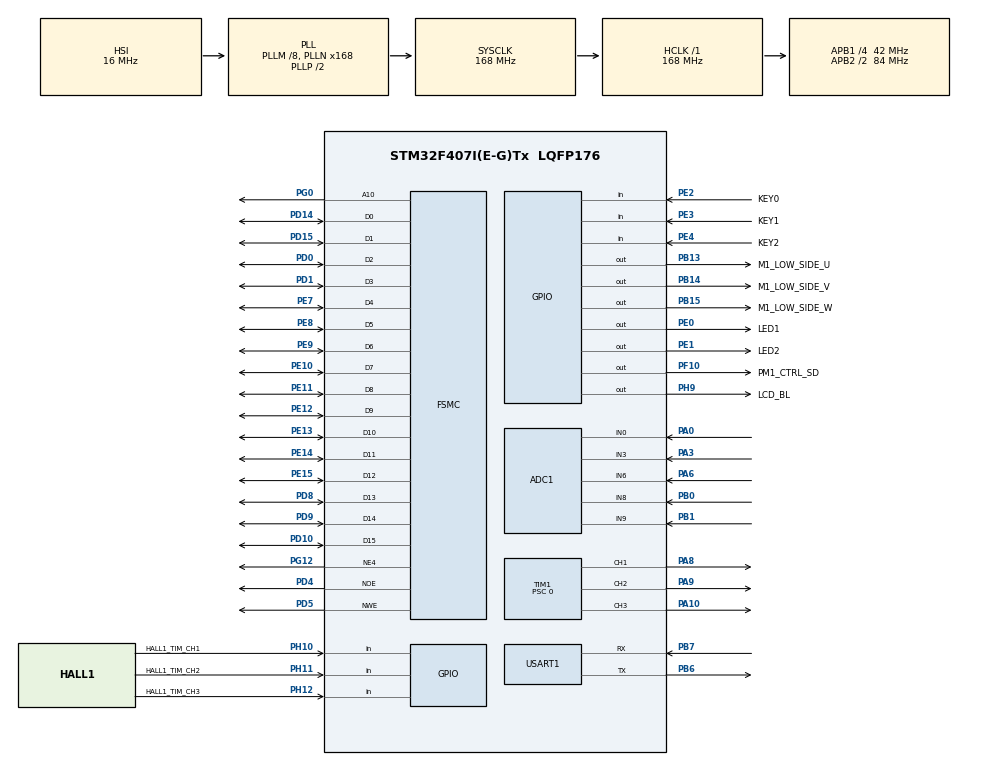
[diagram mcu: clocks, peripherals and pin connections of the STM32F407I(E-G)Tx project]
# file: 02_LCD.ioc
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ADC1.Channel-0\#ChannelRegularConversion=ADC_CHANNEL_9
ADC1.Channel-1\#ChannelRegularConversion=ADC_CHANNEL_0
ADC1.Channel-2\#ChannelRegularConversion=ADC_CHANNEL_8
ADC1.Channel-3\#ChannelRegularConversion=ADC_CHANNEL_6
ADC1.Channel-4\#ChannelRegularConversion=ADC_CHANNEL_3
ADC1.ContinuousConvMode=ENABLE
ADC1.DMAContinuousRequests=ENABLE
ADC1.NbrOfConversion=5
ADC1.NbrOfConversionFlag=1
ADC1.Rank-0\#ChannelRegularConversion=1
ADC1.Rank-1\#ChannelRegularConversion=2
ADC1.Rank-2\#ChannelRegularConversion=3
ADC1.Rank-3\#ChannelRegularConversion=4
ADC1.Rank-4\#ChannelRegularConversion=5
ADC1.SamplingTime-0\#ChannelRegularConversion=ADC_SAMPLETIME_3CYCLES
ADC1.SamplingTime-1\#ChannelRegularConversion=ADC_SAMPLETIME_3CYCLES
ADC1.SamplingTime-2\#ChannelRegularConversion=ADC_SAMPLETIME_3CYCLES
ADC1.SamplingTime-3\#ChannelRegularConversion=ADC_SAMPLETIME_3CYCLES
ADC1.SamplingTime-4\#ChannelRegularConversion=ADC_SAMPLETIME_3CYCLES
ADC1.ScanConvMode=ENABLE
ADC1.master=1
Dma.ADC1.0.Direction=DMA_PERIPH_TO_MEMORY
Dma.ADC1.0.FIFOMode=DMA_FIFOMODE_DISABLE
Dma.ADC1.0.Instance=DMA2_Stream0
Dma.ADC1.0.MemDataAlignment=DMA_MDATAALIGN_HALFWORD
Dma.ADC1.0.MemInc=DMA_MINC_ENABLE
Dma.ADC1.0.Mode=DMA_NORMAL
Dma.ADC1.0.PeriphDataAlignment=DMA_PDATAALIGN_HALFWORD
Dma.ADC1.0.PeriphInc=DMA_PINC_DISABLE
Dma.ADC1.0.Priority=DMA_PRIORITY_LOW
Dma.Request0=ADC1
Dma.Request1=USART1_RX
Dma.Request2=USART1_TX
Dma.USART1_RX.1.Direction=DMA_PERIPH_TO_MEMORY
Dma.USART1_RX.1.FIFOMode=DMA_FIFOMODE_DISABLE
Dma.USART1_RX.1.Instance=DMA2_Stream2
Dma.USART1_RX.1.MemDataAlignment=DMA_MDATAALIGN_BYTE
Dma.USART1_RX.1.MemInc=DMA_MINC_ENABLE
Dma.USART1_RX.1.Mode=DMA_NORMAL
Dma.USART1_RX.1.PeriphDataAlignment=DMA_PDATAALIGN_BYTE
Dma.USART1_RX.1.PeriphInc=DMA_PINC_DISABLE
Dma.USART1_RX.1.Priority=DMA_PRIORITY_LOW
Dma.USART1_TX.2.Direction=DMA_MEMORY_TO_PERIPH
Dma.USART1_TX.2.FIFOMode=DMA_FIFOMODE_DISABLE
Dma.USART1_TX.2.Instance=DMA2_Stream7
Dma.USART1_TX.2.MemDataAlignment=DMA_MDATAALIGN_BYTE
Dma.USART1_TX.2.MemInc=DMA_MINC_ENABLE
Dma.USART1_TX.2.Mode=DMA_NORMAL
Dma.USART1_TX.2.PeriphDataAlignment=DMA_PDATAALIGN_BYTE
Dma.USART1_TX.2.PeriphInc=DMA_PINC_DISABLE
Dma.USART1_TX.2.Priority=DMA_PRIORITY_LOW
FSMC.AddressSetupTime4=2
FSMC.BusTurnAroundDuration4=0
FSMC.DataSetupTime4=5
FSMC.ExtendedAddressSetupTime4=0
FSMC.ExtendedBusTurnAroundDuration4=0
FSMC.ExtendedMode4=FSMC_EXTENDED_MODE_ENABLE
Mcu.Family=STM32F4
Mcu.Name=STM32F407I(E-G)Tx
Mcu.Package=LQFP176
NVIC.DMA2_Stream0_IRQn=true\:0\:0\:false\:false\:true\:false\:true\:true
NVIC.DMA2_Stream2_IRQn=true\:0\:0\:false\:false\:true\:false\:true\:true
NVIC.DMA2_Stream7_IRQn=true\:0\:0\:false\:false\:true\:false\:true\:true
NVIC.PriorityGroup=NVIC_PRIORITYGROUP_4
NVIC.TIM1_UP_TIM10_IRQn=true\:0\:0\:false\:false\:true\:true\:true\:true
NVIC.TIM2_IRQn=true\:0\:0\:false\:false\:true\:true\:true\:true
NVIC.TIM6_DAC_IRQn=true\:0\:0\:false\:false\:true\:true\:true\:true
NVIC.USART1_IRQn=true\:0\:0\:false\:false\:true\:true\:true\:true
PA0-WKUP.Signal=ADCx_IN0
PA10.Signal=S_TIM1_CH3
PA13.Mode=Serial_Wire
PA13.Signal=SYS_JTMS-SWDIO
PA14.Mode=Serial_Wire
PA14.Signal=SYS_JTCK-SWCLK
PA3.Signal=ADCx_IN3
PA6.Signal=ADCx_IN6
PA8.Signal=S_TIM1_CH1
PA9.Signal=S_TIM1_CH2
PB0.Signal=ADCx_IN8
PB1.Signal=ADCx_IN9
PB13.GPIO_Label=M1_LOW_SIDE_U
PB13.Signal=GPIO_Output
PB14.GPIO_Label=M1_LOW_SIDE_V
PB14.Signal=GPIO_Output
PB15.GPIO_Label=M1_LOW_SIDE_W
PB15.Signal=GPIO_Output
PB6.Mode=Asynchronous
PB6.Signal=USART1_TX
PB7.Mode=Asynchronous
PB7.Signal=USART1_RX
PD0.Signal=FSMC_D2_DA2
PD1.Signal=FSMC_D3_DA3
PD10.Signal=FSMC_D15_DA15
PD14.Signal=FSMC_D0_DA0
PD15.Signal=FSMC_D1_DA1
PD4.Signal=FSMC_NOE
PD5.Signal=FSMC_NWE
PD8.Signal=FSMC_D13_DA13
PD9.Signal=FSMC_D14_DA14
PE0.GPIO_Label=LED1
PE0.GPIO_PuPd=GPIO_NOPULL
PE0.PinState=GPIO_PIN_SET
PE0.Signal=GPIO_Output
PE1.GPIO_Label=LED2
PE1.GPIO_PuPd=GPIO_NOPULL
PE1.PinState=GPIO_PIN_SET
PE1.Signal=GPIO_Output
PE10.Signal=FSMC_D7_DA7
PE11.Signal=FSMC_D8_DA8
PE12.Signal=FSMC_D9_DA9
PE13.Signal=FSMC_D10_DA10
PE14.Signal=FSMC_D11_DA11
PE15.Signal=FSMC_D12_DA12
PE2.GPIO_Label=KEY0
PE2.GPIO_PuPd=GPIO_PULLUP
PE2.Signal=GPIO_Input
PE3.GPIO_Label=KEY1
PE3.GPIO_PuPd=GPIO_PULLUP
PE3.Signal=GPIO_Input
PE4.GPIO_Label=KEY2
PE4.GPIO_PuPd=GPIO_PULLUP
PE4.Signal=GPIO_Input
PE7.Signal=FSMC_D4_DA4
PE8.Signal=FSMC_D5_DA5
PE9.Signal=FSMC_D6_DA6
PF10.GPIO_Label=PM1_CTRL_SD
PF10.Signal=GPIO_Output
PG0.Signal=FSMC_A10
PG12.Mode=NorPsramChipSelect4_4
PG12.Signal=FSMC_NE4
PH0-OSC_IN.Mode=HSE-External-Oscillator
PH0-OSC_IN.Signal=RCC_OSC_IN
PH1-OSC_OUT.Mode=HSE-External-Oscillator
PH1-OSC_OUT.Signal=RCC_OSC_OUT
PH10.GPIO_Label=HALL1_TIM_CH1
PH10.GPIO_PuPd=GPIO_PULLUP
PH10.Signal=GPIO_Input
PH11.GPIO_Label=HALL1_TIM_CH2
PH11.GPIO_PuPd=GPIO_PULLUP
PH11.Signal=GPIO_Input
PH12.GPIO_Label=HALL1_TIM_CH3
PH12.GPIO_PuPd=GPIO_PULLUP
PH12.Signal=GPIO_Input
PH9.GPIO_Label=LCD_BL
PH9.Signal=GPIO_Output
ProjectManager.HeapSize=0x200
ProjectManager.StackSize=0x400
ProjectManager.TargetToolchain=MDK-ARM V5.32
RCC.48MHZClocksFreq_Value=84000000
RCC.AHBFreq_Value=168000000
RCC.APB1CLKDivider=RCC_HCLK_DIV4
RCC.APB1Freq_Value=42000000
RCC.APB1TimFreq_Value=84000000
RCC.APB2CLKDivider=RCC_HCLK_DIV2
RCC.APB2Freq_Value=84000000
RCC.APB2TimFreq_Value=168000000
RCC.CortexFreq_Value=168000000
RCC.HCLKFreq_Value=168000000
RCC.HSE_VALUE=8000000
RCC.HSI_VALUE=16000000
RCC.LSE_VALUE=32768
RCC.PLLM=8
RCC.PLLN=168
RCC.SYSCLKFreq_VALUE=168000000
RCC.SYSCLKSource=RCC_SYSCLKSOURCE_PLLCLK
RCC.VCOOutputFreq_Value=336000000
SH.ADCx_IN0.0=ADC1_IN0,IN0
SH.ADCx_IN3.0=ADC1_IN3,IN3
SH.ADCx_IN6.0=ADC1_IN6,IN6
SH.ADCx_IN8.0=ADC1_IN8,IN8
SH.ADCx_IN9.0=ADC1_IN9,IN9
SH.FSMC_A10.0=FSMC_A10,A10_4
SH.FSMC_D0_DA0.0=FSMC_D0,16b-d4
SH.FSMC_D10_DA10.0=FSMC_D10,16b-d4
SH.FSMC_D11_DA11.0=FSMC_D11,16b-d4
SH.FSMC_D12_DA12.0=FSMC_D12,16b-d4
SH.FSMC_D13_DA13.0=FSMC_D13,16b-d4
SH.FSMC_D14_DA14.0=FSMC_D14,16b-d4
SH.FSMC_D15_DA15.0=FSMC_D15,16b-d4
SH.FSMC_D1_DA1.0=FSMC_D1,16b-d4
SH.FSMC_D2_DA2.0=FSMC_D2,16b-d4
SH.FSMC_D3_DA3.0=FSMC_D3,16b-d4
SH.FSMC_D4_DA4.0=FSMC_D4,16b-d4
SH.FSMC_D5_DA5.0=FSMC_D5,16b-d4
SH.FSMC_D6_DA6.0=FSMC_D6,16b-d4
SH.FSMC_D7_DA7.0=FSMC_D7,16b-d4
SH.FSMC_D8_DA8.0=FSMC_D8,16b-d4
SH.FSMC_D9_DA9.0=FSMC_D9,16b-d4
SH.FSMC_NOE.0=FSMC_NOE,Lcd4
SH.FSMC_NWE.0=FSMC_NWE,Lcd4
SH.S_TIM1_CH1.0=TIM1_CH1,PWM Generation1 CH1
SH.S_TIM1_CH2.0=TIM1_CH2,PWM Generation2 CH2
SH.S_TIM1_CH3.0=TIM1_CH3,PWM Generation3 CH3
TIM1.AutoReloadPreload=TIM_AUTORELOAD_PRELOAD_ENABLE
TIM1.Channel-PWM\ Generation1\ CH1=TIM_CHANNEL_1
TIM1.Channel-PWM\ Generation2\ CH2=TIM_CHANNEL_2
TIM1.Channel-PWM\ Generation3\ CH3=TIM_CHANNEL_3
TIM1.Period=168000/(18-1)
TIM1.Prescaler=0
TIM2.Period=1000-1
TIM2.Prescaler=84-1
TIM6.Period=1000
TIM6.Prescaler=84
USART1.VirtualMode=VM_ASYNC
VP_TIM2_VS_ClockSourceINT.Mode=Internal
VP_TIM6_VS_ClockSourceINT.Mode=Enable_Timer
board=custom

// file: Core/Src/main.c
/* USER CODE BEGIN Header */
/**
  ******************************************************************************
  * @file           : main.c
  * @brief          : Main program body
  ******************************************************************************
  * @attention
  *
  * Copyright (c) 2026 STMicroelectronics.
  * All rights reserved.
  *
  * This software is licensed under terms that can be found in the LICENSE file
  * in the root directory of this software component.
  * If no LICENSE file comes with this software, it is provided AS-IS.
  *
  ******************************************************************************
  */
/* USER CODE END Header */
#include "main.h"
#include "adc.h"
#include "dma.h"
#include "tim.h"
#include "usart.h"
#include "gpio.h"
#include "fsmc.h"

/* USER CODE BEGIN Includes */
#include "lcd.h"
#include "key_led.h"
#include "bldc_motor.h"
#include "bldc_adc.h"
#include "stdio.h"
#include "pid.h"
#include "vofa_plus.h"
#include "pid_param_parse.h"

/* USER CODE END Includes */

/* USER CODE BEGIN PM */
extern int32_t motor_pwm_s;
extern int32_t temp_pwm1;
extern int16_t adc_amp_un[3];
extern float  adc_amp_bus;

float*user_setpoint = (float*)(&g_speed_pid.SetPoint);    /* 设置目标值指针 指向存放目标值地址 */

/* USER CODE END PM */

void SystemClock_Config(void);

int main(void)
{

  /* MCU Configuration--------------------------------------------------------*/

  /* Reset of all peripherals, Initializes the Flash interface and the Systick. */
  HAL_Init();

  /* Configure the system clock */
  SystemClock_Config();

  /* Initialize all configured peripherals */
  MX_GPIO_Init();
  MX_DMA_Init();
  MX_FSMC_Init();
  MX_TIM1_Init();
  MX_TIM2_Init();
  MX_USART1_UART_Init();
  MX_ADC1_Init();
  MX_TIM6_Init();
  /* USER CODE BEGIN 2 */
  DWT_Init(); // 初始化DWT

  Key_Init();
  Led_Init();
  lcd_init();
  HAL_TIM_Base_Start_IT(&htim1);
  HAL_TIM_Base_Start_IT(&htim6);  // 启动TIM6中断,ADC采集
  adc_nch_dma_init();
  pid_init();
  PID_ParamParser_Init();
  lcd_show_string(10, 50, 300, 32, 32, "GenBotter-Motor-1", RED);
  lcd_show_string(10, 85, 450, 24, 24, "Chap06_LCD_KEY_LED_TempPro", BLUE);
  printf("Hello World!\n");
  int16_t pwm_duty_temp = 0;
  int8_t t;
  char buf[32];
  float current[3]= {0.0f};
  float current_lpf[4]= {0.0f};
  uint32_t vofa_plus_send_time = 0;
  uint32_t pid_param_lcd_flash = 0;
  /* USER CODE END 2 */

  /* Infinite loop */
  /* USER CODE BEGIN WHILE */
    KeyPressedID key_id = KEY_None;
  while (1)
  {
    /* USER CODE END WHILE */

    /* USER CODE BEGIN 3 */
    // printf("HallSensor State: 0x%02X\n", hallsensor_get_state(MOTOR_1));
    // HAL_Delay(100);
    #if 0
    t++;
    if(t % 200 == 0)
    {

        sprintf(buf,"g_speed_pid.SetPoint:%.1f,pwm_duty:%d",
          (float)g_speed_pid.SetPoint,g_bldc_motor1.pwm_duty);
        lcd_show_string(10,150,400,16,16,buf,g_point_color);
        sprintf(buf,"Power:%.3fV ",g_adc_val[0]*ADC2VBUS);
        lcd_show_string(10,170,200,16,16,buf,g_point_color);
        sprintf(buf,"Temp:%.1fC ",get_temp(g_adc_val[1]));
        lcd_show_string(10,190,200,16,16,buf,g_point_color);

        current[0] = adc_amp_un[0]* ADC2CURT;               /* 计算出三相电流值，U */
        current[1] = adc_amp_un[1]* ADC2CURT;               /* 计算出三相电流值，V */
        current[2] = adc_amp_un[2]* ADC2CURT;               /* 计算出三相电流值，W */

        /*一阶数字滤波 滤波系数0.1 用于显示*/
        FirstOrderRC_LPF(current_lpf[0],current[0],0.1f);   /* U相电流 */
        FirstOrderRC_LPF(current_lpf[1],current[1],0.1f);   /* V相电流 */
        FirstOrderRC_LPF(current_lpf[2],current[2],0.1f);   /* W相电流 */
        FirstOrderRC_LPF(current_lpf[3],adc_amp_bus,0.1f);  /* 母线电流 */

        if(g_bldc_motor1.run_flag == STOP)                  /* 停机的电流显示 */
        {
            current_lpf[0] = 0;
            current_lpf[1] = 0;
            current_lpf[2] = 0;
            current_lpf[3] = 0;
        }
        /* LCD显示提示信息 */
        sprintf(buf,"Amp U:%.3fmA ",(float)current_lpf[0]);
        lcd_show_string(10,210,200,16,16,buf,g_point_color);
        sprintf(buf,"Amp V:%.3fmA ",(float)current_lpf[1]);
        lcd_show_string(10,230,200,16,16,buf,g_point_color);
        sprintf(buf,"Amp W:%.3fmA ",(float)current_lpf[2]);
        lcd_show_string(10,250,200,16,16,buf,g_point_color);
        sprintf(buf,"Amp Bus:%.3fmA ",(float)current_lpf[3]);
        lcd_show_string(10,270,200,16,16,buf,g_point_color);
        sprintf(buf,"Speed:%.1frpm ",(float)g_bldc_motor1.speed);
        lcd_show_string(10,290,200,16,16,buf,g_point_color);

        /* 串口打印信息 */
        // printf("Valtage:%.1fV \r\n", g_adc_val[0]*ADC2VBUS);
        // printf("Temp:%.1fC \r\n", get_temp(g_adc_val[1]));
        // printf("U相电流为：%.3fmA\r\n", (current_lpf[0]));
        // printf("V相电流为：%.3fmA\r\n", (current_lpf[1]));
        // printf("W相电流为：%.3fmA\r\n", (current_lpf[2]));
        // printf("母线电流为：%.3fmA\r\n", (current_lpf[3]));
        // printf("\r\n");
        Led_Toggle(LED1);                          /* LED1(红灯) 翻转 */
        VOFA_Plus_SendSpeedLoopData(); // 发送当前速度环PID数据到VOFA+
    }
    #endif

    if(HAL_GetTick() - vofa_plus_send_time >= 100)
    {
      pid_param_lcd_flash ++;
      if(pid_param_lcd_flash >= 10)
      {
        pid_param_lcd_flash = 0;
        sprintf(buf,"KP:%.5f,KI:%.5f,KD:%.5f",
          (float)g_speed_pid.Proportion,(float)g_speed_pid.Integral,(float)g_speed_pid.Derivative);
        lcd_show_string(10, 150, 400, 16,16,buf,g_point_color);
      }
      vofa_plus_send_time = HAL_GetTick();
      VOFA_Plus_SendSpeedLoopData(); // 发送当前速度环PID数据到VOFA+
    }

    key_id = Key_Scan();
    if(key_id == KEY0_Pressed)
    {
            lcd_show_string(10, 115, 200, 24, 24, "key 0 pressed.", BLUE);
            g_bldc_motor1.run_flag = RUN;   /* 开启运行 */
            g_bldc_motor1.dir = CW;         /* 顺时针旋转 */
            start_motor1();                 /* 开启运行 */
            if(*user_setpoint == 0 && g_bldc_motor1.dir == CCW)
            {
                pid_init();                 /* 换向时刻，重新初始化PID，防止速度突变 */
                g_bldc_motor1.dir = CW;
            }

            *user_setpoint += 400;          /* 顺时针旋转下递增 */
            if(*user_setpoint >= 4000)
                *user_setpoint = 4000;
            if(*user_setpoint == 0)
            {
                g_bldc_motor1.run_flag = STOP;
                stop_motor1();              /* 停机 */
                g_bldc_motor1.speed = 0;
                motor_pwm_s = 0;
                g_bldc_motor1.pwm_duty = 0;
                printf("Speed 0\r\n");
            }
    }
    else if(key_id == KEY1_Pressed)
    {
            lcd_show_string(10, 115, 200, 24, 24, "key 1 pressed.", BLUE);
            g_bldc_motor1.run_flag = RUN;   /* 开启运行 */
            g_bldc_motor1.dir = CCW;        /* 逆时针旋转 */
            start_motor1();                 /* 开启运行 */
            if(*user_setpoint == 0 && g_bldc_motor1.dir == CW)
            {
                pid_init();
                g_bldc_motor1.dir = CCW;
            }
            *user_setpoint -= 400;          /* 逆时针旋转下递增 */
            if(*user_setpoint <= -4000)
                *user_setpoint = -4000;
            if(*user_setpoint == 0)
            {
                g_bldc_motor1.run_flag = STOP;
                stop_motor1();              /* 停机 */
                g_bldc_motor1.speed = 0;
                motor_pwm_s = 0;
                g_bldc_motor1.pwm_duty = 0;
                printf("Speed 0\r\n");
            }
    }
    else if(key_id == KEY2_Pressed){
        lcd_show_string(10, 115, 200, 24, 24, "key 2 pressed.", BLUE);
        stop_motor1();                          /* 停机 */
        g_bldc_motor1.run_flag = STOP;          /* 标记停机 */
        pwm_duty_temp = 0;                      /* 数据清0 */
        g_bldc_motor1.pwm_duty = 0;
    }

	}
  /* USER CODE END 3 */
}

void SystemClock_Config(void)
{
  RCC_OscInitTypeDef RCC_OscInitStruct = {0};
  RCC_ClkInitTypeDef RCC_ClkInitStruct = {0};

  /** Configure the main internal regulator output voltage
  */
  __HAL_RCC_PWR_CLK_ENABLE();
  __HAL_PWR_VOLTAGESCALING_CONFIG(PWR_REGULATOR_VOLTAGE_SCALE1);

  /** Initializes the RCC Oscillators according to the specified parameters
  * in the RCC_OscInitTypeDef structure.
  */
  RCC_OscInitStruct.OscillatorType = RCC_OSCILLATORTYPE_HSI;
  RCC_OscInitStruct.HSIState = RCC_HSI_ON;
  RCC_OscInitStruct.HSICalibrationValue = RCC_HSICALIBRATION_DEFAULT;
  RCC_OscInitStruct.PLL.PLLState = RCC_PLL_ON;
  RCC_OscInitStruct.PLL.PLLSource = RCC_PLLSOURCE_HSI;
  RCC_OscInitStruct.PLL.PLLM = 8;
  RCC_OscInitStruct.PLL.PLLN = 168;
  RCC_OscInitStruct.PLL.PLLP = RCC_PLLP_DIV2;
  RCC_OscInitStruct.PLL.PLLQ = 4;
  if (HAL_RCC_OscConfig(&RCC_OscInitStruct) != HAL_OK)
  {
    Error_Handler();
  }

  /** Initializes the CPU, AHB and APB buses clocks
  */
  RCC_ClkInitStruct.ClockType = RCC_CLOCKTYPE_HCLK|RCC_CLOCKTYPE_SYSCLK
                              |RCC_CLOCKTYPE_PCLK1|RCC_CLOCKTYPE_PCLK2;
  RCC_ClkInitStruct.SYSCLKSource = RCC_SYSCLKSOURCE_PLLCLK;
  RCC_ClkInitStruct.AHBCLKDivider = RCC_SYSCLK_DIV1;
  RCC_ClkInitStruct.APB1CLKDivider = RCC_HCLK_DIV4;
  RCC_ClkInitStruct.APB2CLKDivider = RCC_HCLK_DIV2;

  if (HAL_RCC_ClockConfig(&RCC_ClkInitStruct, FLASH_LATENCY_5) != HAL_OK)
  {
    Error_Handler();
  }
}

void Error_Handler(void)
{
  __disable_irq();
  while (1)
  {
  }
}
